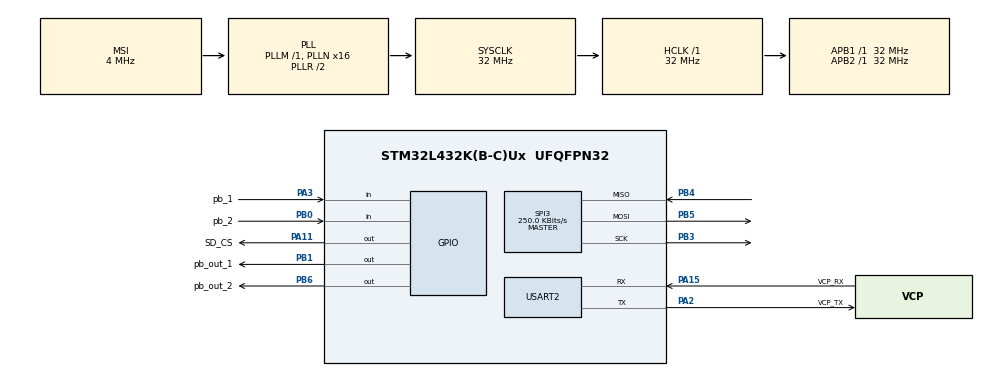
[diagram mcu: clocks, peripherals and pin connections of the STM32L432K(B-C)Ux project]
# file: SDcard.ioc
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Mcu.Family=STM32L4
Mcu.Name=STM32L432K(B-C)Ux
Mcu.Package=UFQFPN32
NVIC.PriorityGroup=NVIC_PRIORITYGROUP_4
PA0.GPIO_Label=MCO [High speed clock in]
PA0.Signal=RCC_CK_IN
PA11.GPIO_Label=SD_CS
PA11.Signal=GPIO_Output
PA13\ (JTMS-SWDIO).GPIO_Label=SWDIO
PA13\ (JTMS-SWDIO).Signal=SYS_JTMS-SWDIO
PA14\ (JTCK-SWCLK).GPIO_Label=SWCLK
PA14\ (JTCK-SWCLK).Signal=SYS_JTCK-SWCLK
PA15\ (JTDI).GPIO_Label=VCP_RX
PA15\ (JTDI).Mode=Asynchronous
PA15\ (JTDI).Signal=USART2_RX
PA2.GPIO_Label=VCP_TX
PA2.Mode=Asynchronous
PA2.Signal=USART2_TX
PA3.GPIO_Label=pb_1
PA3.GPIO_Mode=GPIO_MODE_INPUT
PA3.GPIO_PuPd=GPIO_PULLUP
PA3.Signal=GPIO_Input
PB0.GPIO_Label=pb_2
PB0.GPIO_PuPd=GPIO_PULLUP
PB0.Signal=GPIO_Input
PB1.GPIO_Label=pb_out_1
PB1.PinState=GPIO_PIN_SET
PB1.Signal=GPIO_Output
PB3\ (JTDO-TRACESWO).GPIO_PuPd=GPIO_PULLUP
PB3\ (JTDO-TRACESWO).Mode=Full_Duplex_Master
PB3\ (JTDO-TRACESWO).Signal=SPI3_SCK
PB4\ (NJTRST).GPIO_PuPd=GPIO_PULLUP
PB4\ (NJTRST).Mode=Full_Duplex_Master
PB4\ (NJTRST).Signal=SPI3_MISO
PB5.GPIO_PuPd=GPIO_PULLUP
PB5.Mode=Full_Duplex_Master
PB5.Signal=SPI3_MOSI
PB6.GPIO_Label=pb_out_2
PB6.GPIO_Speed=GPIO_SPEED_FREQ_LOW
PB6.PinState=GPIO_PIN_SET
PB6.Signal=GPIO_Output
PC14-OSC32_IN\ (PC14).Signal=RCC_OSC32_IN
PC15-OSC32_OUT\ (PC15).Signal=RCC_OSC32_OUT
ProjectManager.HeapSize=0x200
ProjectManager.StackSize=0x400
ProjectManager.TargetToolchain=STM32CubeIDE
RCC.AHBFreq_Value=32000000
RCC.APB1Freq_Value=32000000
RCC.APB1TimFreq_Value=32000000
RCC.APB2Freq_Value=32000000
RCC.APB2TimFreq_Value=32000000
RCC.CortexFreq_Value=32000000
RCC.HCLKFreq_Value=32000000
RCC.HSE_VALUE=8000000
RCC.HSI16_VALUE=16000000
RCC.HSI48_VALUE=48000000
RCC.HSI_VALUE=16000000
RCC.LSE_VALUE=32768
RCC.MSI_VALUE=4000000
RCC.PLLMUL=RCC_PLLMUL_4
RCC.PLLN=16
RCC.SYSCLKFreq_VALUE=32000000
RCC.SYSCLKSource=RCC_SYSCLKSOURCE_PLLCLK
RCC.VCOOutputFreq_Value=64000000
SPI3.BaudRatePrescaler=SPI_BAUDRATEPRESCALER_128
SPI3.CalculateBaudRate=250.0 KBits/s
SPI3.DataSize=SPI_DATASIZE_8BIT
SPI3.Direction=SPI_DIRECTION_2LINES
SPI3.Mode=SPI_MODE_MASTER
SPI3.VirtualType=VM_MASTER
USART2.VirtualMode-Asynchronous=VM_ASYNC
VP_FATFS_VS_Generic.Mode=User_defined
board=NUCLEO-L432KC

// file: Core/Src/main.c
/* USER CODE BEGIN Header */
/**
  ******************************************************************************
  * @file           : main.c
  * @brief          : Main program body
  ******************************************************************************
  * @attention
  *
  * Copyright (c) 2026 STMicroelectronics.
  * All rights reserved.
  *
  * This software is licensed under terms that can be found in the LICENSE file
  * in the root directory of this software component.
  * If no LICENSE file comes with this software, it is provided AS-IS.
  *
  ******************************************************************************
  */
/* USER CODE END Header */
#include "main.h"
#include "fatfs.h"

/* USER CODE BEGIN Includes */
#include <string.h>
#include <stdio.h>
#include <stdarg.h> //for va_list var arg functions

/* USER CODE END Includes */

/* USER CODE BEGIN PTD */
#define BUFFERSIZE 256
//#define POLLING_TIME 30
/* USER CODE END PTD */

SPI_HandleTypeDef hspi3;

UART_HandleTypeDef huart2;

/* USER CODE BEGIN PV */
uint32_t button1 = 0;// button 1 counter
uint32_t button2 = 0;// button 2 counter
//int poll_time = 30;// 30 ms

uint32_t debounceDelay = 30;

// Button 1
GPIO_PinState btn1_lastReading = GPIO_PIN_RESET;
GPIO_PinState btn1_stableState = GPIO_PIN_RESET;
uint32_t btn1_lastDebounceTime = 0;

// Button 2
GPIO_PinState btn2_lastReading = GPIO_PIN_RESET;
GPIO_PinState btn2_stableState = GPIO_PIN_RESET;
uint32_t btn2_lastDebounceTime = 0;

//data to read
typedef struct {
    uint32_t record;
    float vdc;
    float idc;
    float power;
    float vrms;
    float irms;
    float freq;
    float phase;
    float real_power;
    float apparent_power;
    float reactive_power;
    float pf;
    float vptp;
    float iptp;
    float vTHD;
    float iTHD;
} Measurement_t;

/* USER CODE END PV */

void SystemClock_Config(void);
static void MX_GPIO_Init(void);
static void MX_SPI3_Init(void);
static void MX_USART2_UART_Init(void);
/* USER CODE BEGIN PFP */
void myprintf(const char *fmt, ...);
/* USER CODE END PFP */

/* USER CODE BEGIN 0 */

void myprintf(const char *fmt, ...) {
  static char buffer[256];
  va_list args;
  va_start(args, fmt);
  vsnprintf(buffer, sizeof(buffer), fmt, args);
  va_end(args);

  int len = strlen(buffer);
  HAL_UART_Transmit(&huart2, (uint8_t*)buffer, len, -1);

}

// Write a string to an already-open CSV file
void writeCSV(FIL* fil, char* content) {
    FRESULT fres;
    UINT bytesWrote;

    fres = f_write(fil, content, strlen(content), &bytesWrote);
    if (fres == FR_OK) {
        myprintf("Wrote %u bytes to 'log.csv'!\r\n", bytesWrote);
    } else {
        myprintf("f_write error to csv (%i)\r\n", fres);
    }
}

// Log one measurement row to log.csv
 void LogMeasurement(
         uint32_t record,
         float vdc,
         float idc,
         float power,
         float vrms,
         float irms,
         float freq,
         float phase,
         float real_power,
         float apparent_power,
         float reactive_power,
         float pf,
         float vptp,
         float iptp,
         float vTHD,
         float iTHD
 ) {
     FIL fil;
     FRESULT fres;
     char writeBuffer[BUFFERSIZE];

     myprintf("\r\n~ now writing ~\r\n\r\n");

     // Open file for append, create if needed
     fres = f_open(&fil, "log.csv", FA_OPEN_ALWAYS | FA_WRITE);
     if (fres != FR_OK) {
         myprintf("f_open error for log.csv (%i)\r\n", fres);
         return;
     }

     // Move to end of file
     fres = f_lseek(&fil, f_size(&fil));
     if (fres != FR_OK) {
         myprintf("f_lseek error (%i)\r\n", fres);
         f_close(&fil);
         return;
     }

     // If file is empty, write header first
     if (f_size(&fil) == 0) {
         snprintf(writeBuffer, BUFFERSIZE,
                  "record,vdc,idc,power,vrms,irms,freq,phase,real_power,apparent_power,reactive_power,pf,vptp,iptp,vTHD,iTHD\r\n");
         writeCSV(&fil, writeBuffer);
     }

     // Write one measurement row
     snprintf(writeBuffer, BUFFERSIZE,
              "%lu,%.3f,%.3f,%.3f,%.3f,%.3f,%.3f,%.3f,%.3f,%.3f,%.3f,%.3f,%.3f,%.3f,%.3f,%.3f\r\n",
		        record,
		        vdc,// DC voltage (in V)
		        idc,// DC current (in A
				power, // DC power (in W)
		        vrms,// AC voltage (in V)
		        irms,// AC current (in A)
				freq, // AC frequency (in Hz)
				phase,//AC phase difference between voltage and current waveform (in degrees)
		        real_power,//AC real power (in W)
		        apparent_power,// AC reactive power (in VAR)
		        reactive_power,//AC apparent power (in VA)
		        pf,//AC power factor (unitless, between 0 and 1)
		        vptp,//AC peak-to-peak voltage (in V, not RMS)
		        iptp,//AC peak-to-peak current (in A, not RMS)
		        vTHD,//Total Harmonic Distortion (THD) of voltage (in %)
		        iTHD //THD of current (in %)
				);

     writeCSV(&fil, writeBuffer);

     f_sync(&fil);
     f_close(&fil);
 }

//read the last measurment taken
void readMeasurment(){
    FIL fil;
    FRESULT fres;
    char line[BUFFERSIZE];
    char lastLine[BUFFERSIZE] = {0};

    myprintf("\r\n~ now reading ~\r\n\r\n");

    // open file
    fres = f_open(&fil, "log.csv", FA_READ);
    if (fres != FR_OK) {
        myprintf("f_open error (%i) on reading\r\n", fres);
        return;
    }

    // read every line
    while (f_gets(line, sizeof(line), &fil) != NULL) {

        // skip header
        if (strncmp(line, "record,", 7) == 0)
            continue;

        // skip empty lines
        if (line[0] == '\r' || line[0] == '\n' || line[0] == '\0')
            continue;

        // store latest line
        strncpy(lastLine, line, sizeof(lastLine)-1);
        lastLine[sizeof(lastLine)-1] = '\0';
    }

    f_close(&fil);

    if (lastLine[0] != '\0') {
        myprintf("Latest measurement: %s", lastLine);
    } else {
        myprintf("No measurement data found\r\n");
    }

}

 //This function reads and returns the lastest measurment logged on the SD card

/* USER CODE END 0 */

int main(void)
{

  /* MCU Configuration--------------------------------------------------------*/

  /* Reset of all peripherals, Initializes the Flash interface and the Systick. */
  HAL_Init();

  /* Configure the system clock */
  SystemClock_Config();

  /* Initialize all configured peripherals */
  MX_GPIO_Init();
  MX_SPI3_Init();
  MX_FATFS_Init();
  MX_USART2_UART_Init();
  /* USER CODE BEGIN 2 */

  //This function write a single measurment to a csv file

  //HAL_GPIO_WritePin(GPIOA, GPIO_PIN_11, GPIO_PIN_SET);//test: LED turn on

  myprintf("\r\n~ SD card start ~\r\n\r\n");

  HAL_Delay(1000); //delay to let SD card settle

  //FatFS variables

  FATFS FatFs; 	//Fatfs handle
  FIL fil; // file handle
  FRESULT fres;// result after operation
  static int record = 1;// keep track of the record

  UINT bytesWritten;

  //try to mount the SD card
  fres = f_mount(&FatFs, "", 1); //1=mount now
  if (fres != FR_OK) {
	 myprintf("f_mount error (%i)\r\n", fres);

	  //mount failed
	while(1);
  }

  //Let's get some statistics from the SD card
  DWORD free_clusters, free_sectors, total_sectors;

  FATFS* getFreeFs;

  fres = f_getfree("", &free_clusters, &getFreeFs);
  if (fres != FR_OK) {
	myprintf("f_getfree error (%i)\r\n", fres);
	while(1);
  }

  //Formula comes from ChaN's documentation
  total_sectors = (getFreeFs->n_fatent - 2) * getFreeFs->csize;
  free_sectors = free_clusters * getFreeFs->csize;

  myprintf("SD card stats:\r\n%10lu KiB total drive space.\r\n%10lu KiB available.\r\n", total_sectors / 2, free_sectors / 2);

  //TEST:

  //test writing code to .csv
  /**
   *    LogMeasurement(record, 12.400f, 1.250f, 15.500f,
                  240.100f, 0.850f, 50.000f, 12.300f,
                  180.000f, 204.000f, 96.000f, 0.882f,
                  679.000f, 2.400f, 3.100f, 4.200f);

   record++;// increment the record

   * **/

  //test reading from .csv
  readMeasurment();
  HAL_Delay(1000);

  /* USER CODE END 2 */

  /* Infinite loop */
  /* USER CODE BEGIN WHILE */
  while (1)
  {
	  uint32_t now = HAL_GetTick();

	     //button 1
	     GPIO_PinState btn1_reading = HAL_GPIO_ReadPin(GPIOA, GPIO_PIN_3);//read current signal

	     if (btn1_reading != btn1_lastReading)// button pressed
	     {
	         btn1_lastDebounceTime = now;//get current input
	         btn1_lastReading = btn1_reading;//get current input
	     }

	     if ((now - btn1_lastDebounceTime) >= debounceDelay)//check button after 30 ms
	     {
	         if (btn1_stableState != btn1_reading)//confirm state of the button
	         {
	             btn1_stableState = btn1_reading;//get new button press value

	             // button press event 1
	             if (btn1_stableState == GPIO_PIN_SET)
	             {
	                 HAL_GPIO_TogglePin(GPIOB, GPIO_PIN_1);
	             }
	         }
	     }

	     //button 2
	     GPIO_PinState btn2_reading = HAL_GPIO_ReadPin(GPIOB, GPIO_PIN_0);//read current signal

	     if (btn2_reading != btn2_lastReading)// button pressed
	     {
	         btn2_lastDebounceTime = now;//get current input
	         btn2_lastReading = btn2_reading;//get current input
	     }

	     if ((now - btn2_lastDebounceTime) >= debounceDelay)//check button after 30 ms
	     {
	         if (btn2_stableState != btn2_reading)//confirm state of the button
	         {
	             btn2_stableState = btn2_reading;//get new button press value

	             // button press event  2
	             if (btn2_stableState == GPIO_PIN_SET)
	             {
	                 HAL_GPIO_TogglePin(GPIOB, GPIO_PIN_6);
	             }
	         }

	    }

    /* USER CODE END WHILE */

  }
}

void SystemClock_Config(void)
{
  RCC_OscInitTypeDef RCC_OscInitStruct = {0};
  RCC_ClkInitTypeDef RCC_ClkInitStruct = {0};

  /** Configure the main internal regulator output voltage
  */
  if (HAL_PWREx_ControlVoltageScaling(PWR_REGULATOR_VOLTAGE_SCALE1) != HAL_OK)
  {
    Error_Handler();
  }

  /** Initializes the RCC Oscillators according to the specified parameters
  * in the RCC_OscInitTypeDef structure.
  */
  RCC_OscInitStruct.OscillatorType = RCC_OSCILLATORTYPE_MSI;
  RCC_OscInitStruct.MSIState = RCC_MSI_ON;
  RCC_OscInitStruct.MSICalibrationValue = 0;
  RCC_OscInitStruct.MSIClockRange = RCC_MSIRANGE_6;
  RCC_OscInitStruct.PLL.PLLState = RCC_PLL_ON;
  RCC_OscInitStruct.PLL.PLLSource = RCC_PLLSOURCE_MSI;
  RCC_OscInitStruct.PLL.PLLM = 1;
  RCC_OscInitStruct.PLL.PLLN = 16;
  RCC_OscInitStruct.PLL.PLLP = RCC_PLLP_DIV7;
  RCC_OscInitStruct.PLL.PLLQ = RCC_PLLQ_DIV2;
  RCC_OscInitStruct.PLL.PLLR = RCC_PLLR_DIV2;
  if (HAL_RCC_OscConfig(&RCC_OscInitStruct) != HAL_OK)
  {
    Error_Handler();
  }

  /** Initializes the CPU, AHB and APB buses clocks
  */
  RCC_ClkInitStruct.ClockType = RCC_CLOCKTYPE_HCLK|RCC_CLOCKTYPE_SYSCLK
                              |RCC_CLOCKTYPE_PCLK1|RCC_CLOCKTYPE_PCLK2;
  RCC_ClkInitStruct.SYSCLKSource = RCC_SYSCLKSOURCE_PLLCLK;
  RCC_ClkInitStruct.AHBCLKDivider = RCC_SYSCLK_DIV1;
  RCC_ClkInitStruct.APB1CLKDivider = RCC_HCLK_DIV1;
  RCC_ClkInitStruct.APB2CLKDivider = RCC_HCLK_DIV1;

  if (HAL_RCC_ClockConfig(&RCC_ClkInitStruct, FLASH_LATENCY_1) != HAL_OK)
  {
    Error_Handler();
  }
}

static void MX_SPI3_Init(void)
{

  /* SPI3 parameter configuration*/
  hspi3.Instance = SPI3;
  hspi3.Init.Mode = SPI_MODE_MASTER;
  hspi3.Init.Direction = SPI_DIRECTION_2LINES;
  hspi3.Init.DataSize = SPI_DATASIZE_8BIT;
  hspi3.Init.CLKPolarity = SPI_POLARITY_LOW;
  hspi3.Init.CLKPhase = SPI_PHASE_1EDGE;
  hspi3.Init.NSS = SPI_NSS_SOFT;
  hspi3.Init.BaudRatePrescaler = SPI_BAUDRATEPRESCALER_128;
  hspi3.Init.FirstBit = SPI_FIRSTBIT_MSB;
  hspi3.Init.TIMode = SPI_TIMODE_DISABLE;
  hspi3.Init.CRCCalculation = SPI_CRCCALCULATION_DISABLE;
  hspi3.Init.CRCPolynomial = 7;
  hspi3.Init.CRCLength = SPI_CRC_LENGTH_DATASIZE;
  hspi3.Init.NSSPMode = SPI_NSS_PULSE_ENABLE;
  if (HAL_SPI_Init(&hspi3) != HAL_OK)
  {
    Error_Handler();
  }

}

static void MX_USART2_UART_Init(void)
{

  huart2.Instance = USART2;
  huart2.Init.BaudRate = 115200;
  huart2.Init.WordLength = UART_WORDLENGTH_8B;
  huart2.Init.StopBits = UART_STOPBITS_1;
  huart2.Init.Parity = UART_PARITY_NONE;
  huart2.Init.Mode = UART_MODE_TX_RX;
  huart2.Init.HwFlowCtl = UART_HWCONTROL_NONE;
  huart2.Init.OverSampling = UART_OVERSAMPLING_16;
  huart2.Init.OneBitSampling = UART_ONE_BIT_SAMPLE_DISABLE;
  huart2.AdvancedInit.AdvFeatureInit = UART_ADVFEATURE_NO_INIT;
  if (HAL_UART_Init(&huart2) != HAL_OK)
  {
    Error_Handler();
  }

}

static void MX_GPIO_Init(void)
{
  GPIO_InitTypeDef GPIO_InitStruct = {0};

  /* GPIO Ports Clock Enable */
  __HAL_RCC_GPIOC_CLK_ENABLE();
  __HAL_RCC_GPIOA_CLK_ENABLE();
  __HAL_RCC_GPIOB_CLK_ENABLE();

  /*Configure GPIO pin Output Level */
  HAL_GPIO_WritePin(GPIOB, pb_out_1_Pin|pb_out_2_Pin, GPIO_PIN_SET);

  /*Configure GPIO pin Output Level */
  HAL_GPIO_WritePin(SD_CS_GPIO_Port, SD_CS_Pin, GPIO_PIN_RESET);

  /*Configure GPIO pin : pb_1_Pin */
  GPIO_InitStruct.Pin = pb_1_Pin;
  GPIO_InitStruct.Mode = GPIO_MODE_INPUT;
  GPIO_InitStruct.Pull = GPIO_PULLUP;
  HAL_GPIO_Init(pb_1_GPIO_Port, &GPIO_InitStruct);

  /*Configure GPIO pin : pb_2_Pin */
  GPIO_InitStruct.Pin = pb_2_Pin;
  GPIO_InitStruct.Mode = GPIO_MODE_INPUT;
  GPIO_InitStruct.Pull = GPIO_PULLUP;
  HAL_GPIO_Init(pb_2_GPIO_Port, &GPIO_InitStruct);

  /*Configure GPIO pins : pb_out_1_Pin pb_out_2_Pin */
  GPIO_InitStruct.Pin = pb_out_1_Pin|pb_out_2_Pin;
  GPIO_InitStruct.Mode = GPIO_MODE_OUTPUT_PP;
  GPIO_InitStruct.Pull = GPIO_NOPULL;
  GPIO_InitStruct.Speed = GPIO_SPEED_FREQ_LOW;
  HAL_GPIO_Init(GPIOB, &GPIO_InitStruct);

  /*Configure GPIO pin : SD_CS_Pin */
  GPIO_InitStruct.Pin = SD_CS_Pin;
  GPIO_InitStruct.Mode = GPIO_MODE_OUTPUT_PP;
  GPIO_InitStruct.Pull = GPIO_NOPULL;
  GPIO_InitStruct.Speed = GPIO_SPEED_FREQ_LOW;
  HAL_GPIO_Init(SD_CS_GPIO_Port, &GPIO_InitStruct);

}

void Error_Handler(void)
{
  __disable_irq();
  while (1)
  {
  }
}
